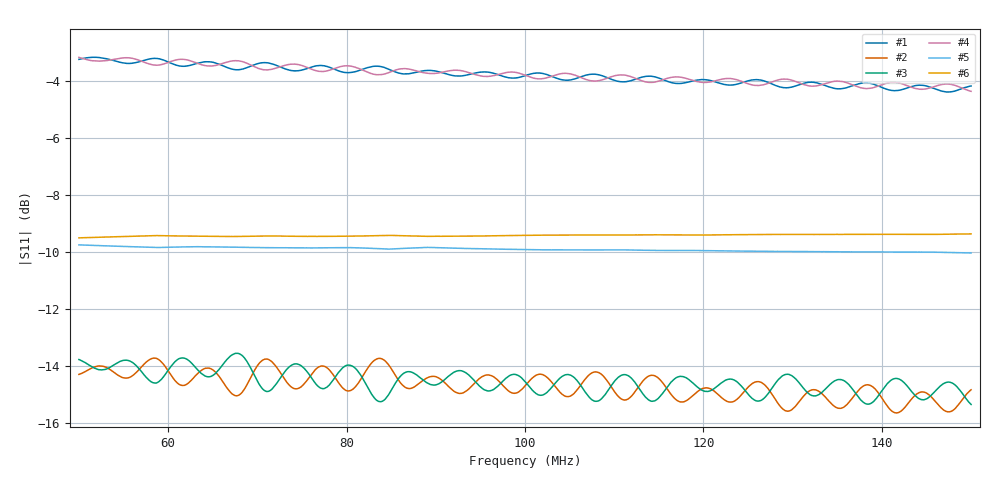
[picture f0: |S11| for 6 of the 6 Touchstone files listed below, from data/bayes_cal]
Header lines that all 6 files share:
! COPPER MOUNTAIN TECHNOLOGIES, PLANAR TR1300/1, 00090118, 19.1.1/1.0
! Data: Format [Calibration Info]
! Freq  S11: Re/Im F1
# HZ S RI R 50
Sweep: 50 MHz to 150 MHz
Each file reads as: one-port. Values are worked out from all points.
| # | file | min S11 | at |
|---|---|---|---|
| 1 | gore5.s1p | -4.4 dB | 147.4 MHz |
| 2 | gore31.s1p | -15.6 dB | 141.7 MHz |
| 3 | gore81.s1p | -15.3 dB | 150 MHz |
| 4 | gore500.s1p | -4.4 dB | 150 MHz |
| 5 | r25.s1p | -10.0 dB | 150 MHz |
| 6 | r100.s1p | -9.5 dB | 50 MHz |
